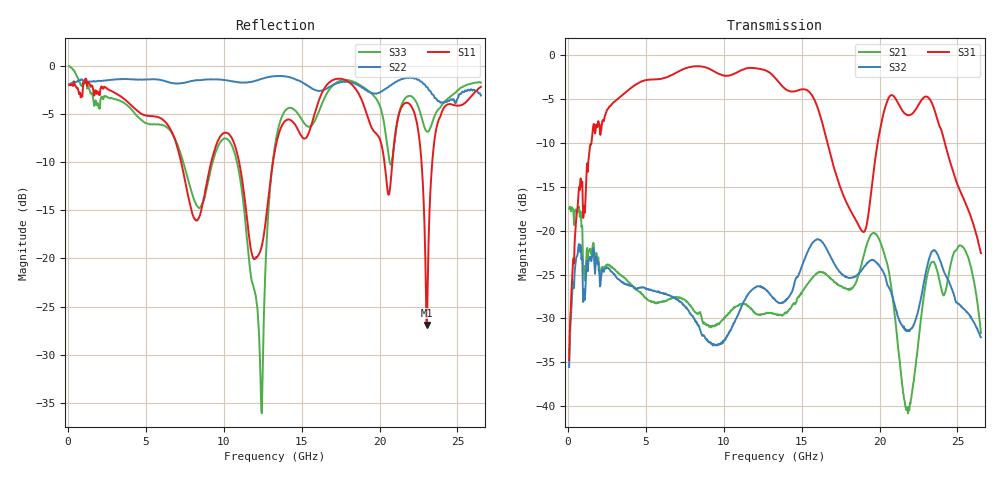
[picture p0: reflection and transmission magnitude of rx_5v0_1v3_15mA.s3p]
!Agilent Technologies,N5245A,MY52101206,A.09.80.15
!Agilent N5245A: A.09.80.15
!Date: Tuesday, December 04, 2012 09:35:17
!Correction: S11(Full 3 Port(1,2,3))
!S12(Full 3 Port(1,2,3))
!S13(Full 3 Port(1,2,3))
!S21(Full 3 Port(1,2,3))
!S22(Full 3 Port(1,2,3))
!S23(Full 3 Port(1,2,3))
!S31(Full 3 Port(1,2,3))
!S32(Full 3 Port(1,2,3))
!S33(Full 3 Port(1,2,3))
!S3P File: Measurements: <S11,S12,S13>,
!<S21,S22,S23>,
!<S31,S32,S33>:
# Hz S  dB  R 50
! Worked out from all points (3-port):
!   1001 points, 100 MHz to 26.5 GHz, reference 50 ohm
!   strongest paths, dB at 100 MHz, 6.7 GHz, 13.3 GHz, 19.9 GHz, 26.5 GHz:
!     S31: -34.7, -2.3, -2.6, -9.8, -22.6
!     S32: -35.5, -27.5, -27.8, -23.8, -32.1
!     S21: -17.5, -27.7, -29.5, -20.7, -31.7
!   lowest |S11| = -26.9 dB at 23.04 GHz (marker M1), VSWR 1.09, Z = 46 - j1.7 ohm
!   |S11| at or under -10 dB: 7.284 GHz to 9.209 GHz (1.925 GHz wide, 23.3 % of centre); 11 GHz to 13.17 GHz (2.167 GHz wide, 17.9 % of centre); 22.69 GHz to 23.38 GHz (687.9 MHz wide, 2.99 % of centre)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
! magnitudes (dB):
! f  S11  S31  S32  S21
! 100 MHz  -2.0  -34.7  -35.5  -17.5
! 2.634 GHz  -2.5  -6.0  -24.3  -23.9
! 10.48 GHz  -7.3  -2.3  -31.3  -29.1
! 12.4 GHz  -19.0  -1.6  -26.4  -29.6
! 13.3 GHz  -8.7  -2.6  -27.8  -29.5
! 19.72 GHz  -6.9  -12.0  -23.5  -20.3
! 21.91 GHz  -3.9  -6.8  -31.4  -40.5
! 23.04 GHz  -26.9  -4.7  -24.2  -25.2
! 23.73 GHz  -6.0  -7.4  -22.7  -24.7
! 26.5 GHz  -2.2  -22.6  -32.1  -31.7
